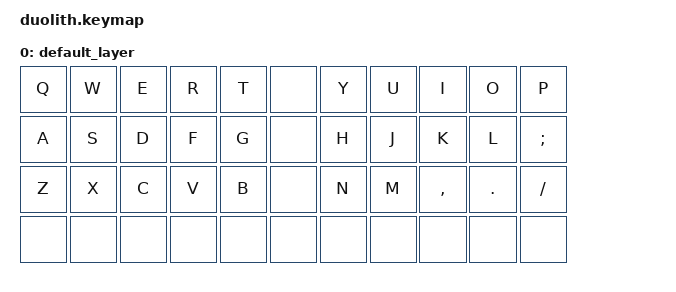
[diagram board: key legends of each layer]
// This file was generated from a template. Edit it to match your keyboard.
// See https://zmk.dev/docs/development/hardware-integration/new-shield for more instructions.

#include <behaviors.dtsi>
#include <dt-bindings/zmk/keys.h>

/ {
    // Define a default keymap here.
    // See https://zmk.dev/docs/development/hardware-integration/new-shield#default-keymap.
    keymap {
        compatible = "zmk,keymap";

        default_layer {
            bindings = <
                &kp Q &kp W &kp E &kp R &kp T &none &kp Y &kp U &kp I &kp O &kp P
                &kp A &kp S &kp D &kp F &kp G &none &kp H &kp J &kp K &kp L &kp SEMI
                &kp Z &kp X &kp C &kp V &kp B &none &kp N &kp M &kp COMMA &kp DOT &kp SLASH
                &none &none &none &none &none &none &none &none &none &none &none
            >;
        };
    };
};
